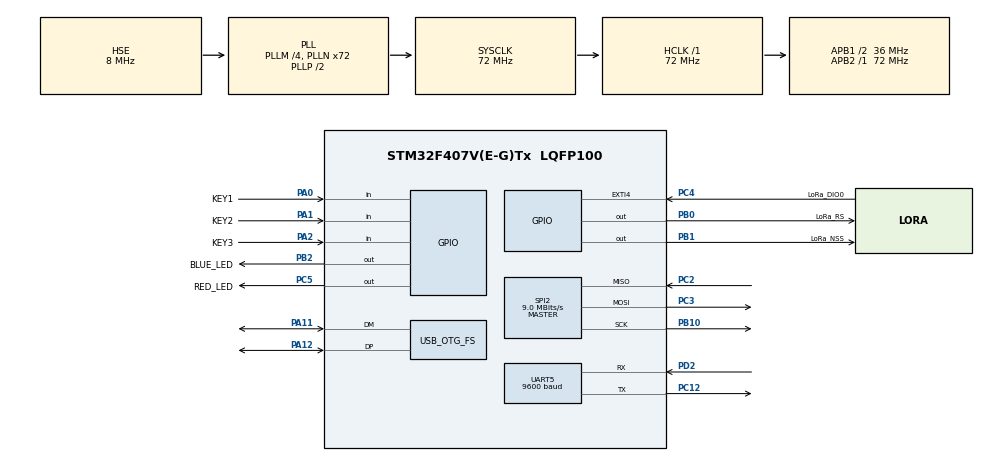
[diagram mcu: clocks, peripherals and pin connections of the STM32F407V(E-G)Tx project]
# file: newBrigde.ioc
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Mcu.Family=STM32F4
Mcu.Name=STM32F407V(E-G)Tx
Mcu.Package=LQFP100
NVIC.OTG_FS_IRQn=true\:0\:0\:false\:false\:true\:false\:true\:true
NVIC.PriorityGroup=NVIC_PRIORITYGROUP_4
PA0-WKUP.GPIO_Label=KEY1
PA0-WKUP.Signal=GPIO_Input
PA1.GPIO_Label=KEY2
PA1.Signal=GPIO_Input
PA11.Mode=Device_Only
PA11.Signal=USB_OTG_FS_DM
PA12.Mode=Device_Only
PA12.Signal=USB_OTG_FS_DP
PA2.GPIO_Label=KEY3
PA2.Signal=GPIO_Input
PB0.GPIO_Label=LoRa_RS
PB0.PinState=GPIO_PIN_SET
PB0.Signal=GPIO_Output
PB1.GPIO_Label=LoRa_NSS
PB1.PinState=GPIO_PIN_SET
PB1.Signal=GPIO_Output
PB10.GPIO_Speed=GPIO_SPEED_FREQ_HIGH
PB10.Mode=Full_Duplex_Master
PB10.Signal=SPI2_SCK
PB2.GPIO_Label=BLUE_LED
PB2.Signal=GPIO_Output
PC12.Mode=Asynchronous
PC12.Signal=UART5_TX
PC2.GPIO_Speed=GPIO_SPEED_FREQ_HIGH
PC2.Mode=Full_Duplex_Master
PC2.Signal=SPI2_MISO
PC3.GPIO_Speed=GPIO_SPEED_FREQ_HIGH
PC3.Mode=Full_Duplex_Master
PC3.Signal=SPI2_MOSI
PC4.GPIO_Label=LoRa_DIO0
PC4.Signal=GPXTI4
PC5.GPIO_Label=RED_LED
PC5.Signal=GPIO_Output
PD2.Mode=Asynchronous
PD2.Signal=UART5_RX
PH0-OSC_IN.Mode=HSE-External-Oscillator
PH0-OSC_IN.Signal=RCC_OSC_IN
PH1-OSC_OUT.Mode=HSE-External-Oscillator
PH1-OSC_OUT.Signal=RCC_OSC_OUT
ProjectManager.HeapSize=0x600
ProjectManager.StackSize=0x400
ProjectManager.TargetToolchain=STM32CubeIDE
RCC.48MHZClocksFreq_Value=48000000
RCC.AHBFreq_Value=72000000
RCC.APB1CLKDivider=RCC_HCLK_DIV2
RCC.APB1Freq_Value=36000000
RCC.APB1TimFreq_Value=72000000
RCC.APB2Freq_Value=72000000
RCC.APB2TimFreq_Value=72000000
RCC.CortexFreq_Value=72000000
RCC.HCLKFreq_Value=72000000
RCC.HSE_VALUE=8000000
RCC.HSI_VALUE=16000000
RCC.LSE_VALUE=32768
RCC.PLLM=4
RCC.PLLN=72
RCC.PLLQ=3
RCC.SYSCLKFreq_VALUE=72000000
RCC.SYSCLKSource=RCC_SYSCLKSOURCE_PLLCLK
RCC.VCOOutputFreq_Value=144000000
SPI2.BaudRatePrescaler=SPI_BAUDRATEPRESCALER_4
SPI2.CalculateBaudRate=9.0 MBits/s
SPI2.Direction=SPI_DIRECTION_2LINES
SPI2.Mode=SPI_MODE_MASTER
SPI2.VirtualType=VM_MASTER
UART5.BaudRate=9600
UART5.VirtualMode=Asynchronous
USB_DEVICE.CLASS_NAME_FS=CDC
USB_DEVICE.VirtualMode-CDC_FS=Cdc
USB_DEVICE.VirtualModeFS=Cdc_FS
USB_OTG_FS.VirtualMode=Device_Only
VP_USB_DEVICE_VS_USB_DEVICE_CDC_FS.Mode=CDC_FS
board=custom

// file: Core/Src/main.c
/* USER CODE BEGIN Header */
/**
  ******************************************************************************
  * @file           : main.c
  * @brief          : Main program body
  ******************************************************************************
  * @attention
  *
  * Copyright (c) 2024 STMicroelectronics.
  * All rights reserved.
  *
  * This software is licensed under terms that can be found in the LICENSE file
  * in the root directory of this software component.
  * If no LICENSE file comes with this software, it is provided AS-IS.
  *
  ******************************************************************************
  */
/* USER CODE END Header */
#include "main.h"
#include "usb_device.h"

/* USER CODE BEGIN Includes */
#include "usbd_cdc_if.h"
#include "LoRa.h"
#include <stdlib.h>
#include "cJSON.h"
#include "string.h"
#include <ctype.h>
/* USER CODE END Includes */

SPI_HandleTypeDef hspi2;

UART_HandleTypeDef huart5;

/* USER CODE BEGIN PV */
LoRa myLoRa;
uint8_t read_data_lora[128];
uint8_t read_data_bluetooth[128];
int		RSSI_lora;

uint8_t waitBuf[] = "Waiting for node ..... \r\n";
uint8_t resetBuf[] = "Reset hardware now .... \r\n";
/* USER CODE END PV */

void SystemClock_Config(void);
static void MX_GPIO_Init(void);
static void MX_UART5_Init(void);
static void MX_SPI2_Init(void);

int main(void)
{

  /* MCU Configuration--------------------------------------------------------*/

  /* Reset of all peripherals, Initializes the Flash interface and the Systick. */
  HAL_Init();

  /* Configure the system clock */
  SystemClock_Config();

  /* Initialize all configured peripherals */
  MX_GPIO_Init();
  MX_USB_DEVICE_Init();
  MX_UART5_Init();
  MX_SPI2_Init();
  /* USER CODE BEGIN 2 */
  // MODULE SETTINGS ----------------------------------------------
  	myLoRa = newLoRa();

  	myLoRa.hSPIx                 = &hspi2;
  	myLoRa.CS_port               = LoRa_NSS_GPIO_Port;
  	myLoRa.CS_pin                = LoRa_NSS_Pin;
  	myLoRa.reset_port            = LoRa_RS_GPIO_Port;
  	myLoRa.reset_pin             = LoRa_RS_Pin;
  	myLoRa.DIO0_port			 = LoRa_DIO0_GPIO_Port;
  	myLoRa.DIO0_pin				 = LoRa_DIO0_Pin;

  	myLoRa.frequency             = 433;		     			// default = 433 MHz
  	myLoRa.spredingFactor        = SF_7;					// default = SF_7
  	myLoRa.bandWidth			 = BW_125KHz;			    // default = BW_125KHz
  	myLoRa.crcRate				 = CR_4_5;					// default = CR_4_5
  	myLoRa.power			     = POWER_17db;				// default = 20db
  	myLoRa.overCurrentProtection = 120; 					// default = 100 mA
  	myLoRa.preamble				 = 10;		  				// default = 8;

  	LoRa_setSyncWord(&myLoRa, 0x23);
  	LoRa_reset(&myLoRa);
  	while(LoRa_init(&myLoRa) != LORA_OK){
  		HAL_GPIO_TogglePin(RED_LED_GPIO_Port, RED_LED_Pin);
  		CDC_Transmit_FS(waitBuf, sizeof(waitBuf));
  	}

  	// START CONTINUOUS RECEIVING -----------------------------------
  	LoRa_startReceiving(&myLoRa);

	//-----------------Initialize JSON------------------------------------
	cJSON_Hooks hooks = {mymalloc,free};
	cJSON_InitHooks(&hooks);
	//--------------------------------------------------------------------
	HAL_Delay(10000);

	uint32_t current = 0;

  /* USER CODE END 2 */

  /* Infinite loop */
  while (1)
  {

    /* USER CODE BEGIN 3 */
	  packet data;

	  CLEAR(read_data_bluetooth);
	  CLEAR(read_data_lora);

	  if(check == 0){
		  // LORA RECEIVING DATA - - - - - - - - - - - - - - - - - - - - - - - -
		  	  if(LoRa_receive(&myLoRa, read_data_lora, 128) > 0){
		  		  RSSI_lora = LoRa_getRSSI(&myLoRa);
		  		  parseJS((char*)read_data_lora, &data);
		  	  }

		  	  if(HAL_UART_Receive(&huart5, read_data_bluetooth, 20, 1000) == HAL_OK){
		  		  if (strlen((char*)read_data_bluetooth) > 0){
		  			  char *token = strtok((char*)read_data_bluetooth, ",");
		  			  if (token != NULL) data.nodeBluetooth.timeBLT = atoi(token);
		  			  token = strtok(NULL, ",");
		  			  if (token != NULL) data.nodeBluetooth.energyBLT = strtod(token, NULL);
		  			  token = strtok(NULL, ",");
		  			  if (token != NULL) data.nodeBluetooth.disData = atoi(token);
		  			  token = strtok(NULL, ",");
		  			  if (token != NULL) data.nodeBluetooth.RSSI_bluet = atoi(token);
		  		  }
		  		  if (!isdigit(data.nodeBluetooth.timeBLT)) CLEAR(data.nodeBluetooth);
		  	  }

		  	if (HAL_GetTick() - current >= 1000){
		  	  cJSON *root = cJSON_CreateObject(); /*create JSON string root*/
		  	  	  cJSON *rootNode = cJSON_CreateArray();
		  	  	  cJSON_AddItemToObject(root, "root", rootNode);
		  	  	  cJSON_AddItemToArray(rootNode, cJSON_CreateNumber(data.energyRoot));
		  	  	  cJSON_AddItemToArray(rootNode, cJSON_CreateNumber(data.timeRoot));
		  	  	  cJSON_AddItemToArray(rootNode, cJSON_CreateNumber(RSSI_lora));

		  	  	  cJSON *defaultNode = cJSON_CreateArray();
		  	  	  cJSON_AddItemToObject(root, "node2", defaultNode);
		  	  	  cJSON_AddItemToArray(defaultNode, cJSON_CreateNumber(data.node2.motor2));
		  	  	  cJSON_AddItemToArray(defaultNode, cJSON_CreateNumber(data.node2.obs2));
		  	  	  cJSON_AddItemToArray(defaultNode, cJSON_CreateNumber(data.node2.time2));
		  	  	  cJSON_AddItemToArray(defaultNode, cJSON_CreateNumber(data.node2.ack2));

		  	  	  cJSON *sendOnlyNode = cJSON_CreateArray();
		  	  	  cJSON_AddItemToObject(root, "node1", sendOnlyNode);
		  	  	  cJSON_AddItemToArray(sendOnlyNode, cJSON_CreateNumber(data.node1.temp1));
		  	  	  cJSON_AddItemToArray(sendOnlyNode, cJSON_CreateNumber(data.node1.hum1));
		  	  	  cJSON_AddItemToArray(sendOnlyNode, cJSON_CreateNumber(data.node1.time1));
		  	  	  cJSON_AddItemToArray(sendOnlyNode, cJSON_CreateNumber(data.node1.ack1));

		  	  	  cJSON *bluetoothNode = cJSON_CreateArray();
		  	  	  cJSON_AddItemToObject(root, "bltN", bluetoothNode);
		  	  	  cJSON_AddItemToArray(bluetoothNode,cJSON_CreateNumber(data.nodeBluetooth.energyBLT));
		  	      cJSON_AddItemToArray(bluetoothNode,cJSON_CreateNumber(data.nodeBluetooth.timeBLT));
		  	      cJSON_AddItemToArray(bluetoothNode,cJSON_CreateNumber(data.nodeBluetooth.disData));
		  	      cJSON_AddItemToArray(bluetoothNode,cJSON_CreateNumber(data.nodeBluetooth.RSSI_bluet));

			  char *ret = cJSON_PrintUnformatted(root);
			  strcat(ret, "\r\n");
			  uint8_t result = CDC_Transmit_FS((uint8_t*)ret, strlen(ret));

			  if(result == USBD_OK) HAL_GPIO_TogglePin(BLUE_LED_GPIO_Port, BLUE_LED_Pin);
			  cJSON_Delete(root);
			  free(ret);

			  current = HAL_GetTick();
		  }
	  } else if (check == 1) {
		    LoRa_transmit(&myLoRa, (uint8_t*)ReceivedData, dataSize, 100);
//		  	HAL_UART_Transmit(&huart5, (uint8_t*)ReceivedData, dataSize, 100);
		  	HAL_GPIO_TogglePin(RED_LED_GPIO_Port, RED_LED_Pin);

		  	for(int i = 0; i < dataSize; i++)
			{
				ReceivedData[i] = 0;
			}
			check = 0;
	  }

	  HAL_Delay(200);
  }
  /* USER CODE END 3 */
}

void SystemClock_Config(void)
{
  RCC_OscInitTypeDef RCC_OscInitStruct = {0};
  RCC_ClkInitTypeDef RCC_ClkInitStruct = {0};

  /** Configure the main internal regulator output voltage
  */
  __HAL_RCC_PWR_CLK_ENABLE();
  __HAL_PWR_VOLTAGESCALING_CONFIG(PWR_REGULATOR_VOLTAGE_SCALE1);

  /** Initializes the RCC Oscillators according to the specified parameters
  * in the RCC_OscInitTypeDef structure.
  */
  RCC_OscInitStruct.OscillatorType = RCC_OSCILLATORTYPE_HSE;
  RCC_OscInitStruct.HSEState = RCC_HSE_ON;
  RCC_OscInitStruct.PLL.PLLState = RCC_PLL_ON;
  RCC_OscInitStruct.PLL.PLLSource = RCC_PLLSOURCE_HSE;
  RCC_OscInitStruct.PLL.PLLM = 4;
  RCC_OscInitStruct.PLL.PLLN = 72;
  RCC_OscInitStruct.PLL.PLLP = RCC_PLLP_DIV2;
  RCC_OscInitStruct.PLL.PLLQ = 3;
  if (HAL_RCC_OscConfig(&RCC_OscInitStruct) != HAL_OK)
  {
    Error_Handler();
  }

  /** Initializes the CPU, AHB and APB buses clocks
  */
  RCC_ClkInitStruct.ClockType = RCC_CLOCKTYPE_HCLK|RCC_CLOCKTYPE_SYSCLK
                              |RCC_CLOCKTYPE_PCLK1|RCC_CLOCKTYPE_PCLK2;
  RCC_ClkInitStruct.SYSCLKSource = RCC_SYSCLKSOURCE_PLLCLK;
  RCC_ClkInitStruct.AHBCLKDivider = RCC_SYSCLK_DIV1;
  RCC_ClkInitStruct.APB1CLKDivider = RCC_HCLK_DIV2;
  RCC_ClkInitStruct.APB2CLKDivider = RCC_HCLK_DIV1;

  if (HAL_RCC_ClockConfig(&RCC_ClkInitStruct, FLASH_LATENCY_2) != HAL_OK)
  {
    Error_Handler();
  }
}

static void MX_SPI2_Init(void)
{

  /* SPI2 parameter configuration*/
  hspi2.Instance = SPI2;
  hspi2.Init.Mode = SPI_MODE_MASTER;
  hspi2.Init.Direction = SPI_DIRECTION_2LINES;
  hspi2.Init.DataSize = SPI_DATASIZE_8BIT;
  hspi2.Init.CLKPolarity = SPI_POLARITY_LOW;
  hspi2.Init.CLKPhase = SPI_PHASE_1EDGE;
  hspi2.Init.NSS = SPI_NSS_SOFT;
  hspi2.Init.BaudRatePrescaler = SPI_BAUDRATEPRESCALER_4;
  hspi2.Init.FirstBit = SPI_FIRSTBIT_MSB;
  hspi2.Init.TIMode = SPI_TIMODE_DISABLE;
  hspi2.Init.CRCCalculation = SPI_CRCCALCULATION_DISABLE;
  hspi2.Init.CRCPolynomial = 10;
  if (HAL_SPI_Init(&hspi2) != HAL_OK)
  {
    Error_Handler();
  }

}

static void MX_UART5_Init(void)
{

  huart5.Instance = UART5;
  huart5.Init.BaudRate = 9600;
  huart5.Init.WordLength = UART_WORDLENGTH_8B;
  huart5.Init.StopBits = UART_STOPBITS_1;
  huart5.Init.Parity = UART_PARITY_NONE;
  huart5.Init.Mode = UART_MODE_TX_RX;
  huart5.Init.HwFlowCtl = UART_HWCONTROL_NONE;
  huart5.Init.OverSampling = UART_OVERSAMPLING_16;
  if (HAL_UART_Init(&huart5) != HAL_OK)
  {
    Error_Handler();
  }

}

static void MX_GPIO_Init(void)
{
  GPIO_InitTypeDef GPIO_InitStruct = {0};

  /* GPIO Ports Clock Enable */
  __HAL_RCC_GPIOH_CLK_ENABLE();
  __HAL_RCC_GPIOC_CLK_ENABLE();
  __HAL_RCC_GPIOA_CLK_ENABLE();
  __HAL_RCC_GPIOB_CLK_ENABLE();
  __HAL_RCC_GPIOD_CLK_ENABLE();

  /*Configure GPIO pin Output Level */
  HAL_GPIO_WritePin(RED_LED_GPIO_Port, RED_LED_Pin, GPIO_PIN_RESET);

  /*Configure GPIO pin Output Level */
  HAL_GPIO_WritePin(GPIOB, LoRa_RS_Pin|LoRa_NSS_Pin, GPIO_PIN_SET);

  /*Configure GPIO pin Output Level */
  HAL_GPIO_WritePin(BLUE_LED_GPIO_Port, BLUE_LED_Pin, GPIO_PIN_RESET);

  /*Configure GPIO pins : KEY1_Pin KEY2_Pin KEY3_Pin */
  GPIO_InitStruct.Pin = KEY1_Pin|KEY2_Pin|KEY3_Pin;
  GPIO_InitStruct.Mode = GPIO_MODE_INPUT;
  GPIO_InitStruct.Pull = GPIO_NOPULL;
  HAL_GPIO_Init(GPIOA, &GPIO_InitStruct);

  /*Configure GPIO pin : LoRa_DIO0_Pin */
  GPIO_InitStruct.Pin = LoRa_DIO0_Pin;
  GPIO_InitStruct.Mode = GPIO_MODE_IT_RISING;
  GPIO_InitStruct.Pull = GPIO_NOPULL;
  HAL_GPIO_Init(LoRa_DIO0_GPIO_Port, &GPIO_InitStruct);

  /*Configure GPIO pin : RED_LED_Pin */
  GPIO_InitStruct.Pin = RED_LED_Pin;
  GPIO_InitStruct.Mode = GPIO_MODE_OUTPUT_PP;
  GPIO_InitStruct.Pull = GPIO_NOPULL;
  GPIO_InitStruct.Speed = GPIO_SPEED_FREQ_LOW;
  HAL_GPIO_Init(RED_LED_GPIO_Port, &GPIO_InitStruct);

  /*Configure GPIO pins : LoRa_RS_Pin LoRa_NSS_Pin BLUE_LED_Pin */
  GPIO_InitStruct.Pin = LoRa_RS_Pin|LoRa_NSS_Pin|BLUE_LED_Pin;
  GPIO_InitStruct.Mode = GPIO_MODE_OUTPUT_PP;
  GPIO_InitStruct.Pull = GPIO_NOPULL;
  GPIO_InitStruct.Speed = GPIO_SPEED_FREQ_LOW;
  HAL_GPIO_Init(GPIOB, &GPIO_InitStruct);

}

/* USER CODE BEGIN 4 */

void parseJS(char *jsonString, packet *data)
{
	cJSON *root = cJSON_Parse(jsonString);

	cJSON *name = cJSON_GetObjectItem(root,"name");

	if(!name) return;

	//get data RootNode
	cJSON *rootData = cJSON_GetObjectItem(root, "root");
	if(rootData->type == cJSON_Array){
		uint8_t i,size = cJSON_GetArraySize(rootData);
		for(i=0;i<size;i++){
			cJSON *dat = cJSON_GetArrayItem(rootData,i);
			switch(i){
			default: break;
			case 0:
				data->timeRoot = dat->valueint;
				break;
			case 1:
				data->energyRoot = dat->valuedouble;
				break;
			}
		}
	}

	//get data node1
	cJSON *node1 = cJSON_GetObjectItem(root, "node1");
	if(node1->type == cJSON_Array){
		uint8_t i,size = cJSON_GetArraySize(node1);
		for(i=0;i<size;i++){
			cJSON *dat = cJSON_GetArrayItem(node1,i);
			switch(i){
			default: break;
			case 0:
				data->node1.hum1 = dat->valuedouble;
				break;
			case 1:
				data->node1.temp1 = dat->valuedouble;
				break;
			case 2:
				data->node1.time1 = dat->valueint;
				break;
			case 3:
				data->node1.ack1 = dat->valueint;
				break;
			}
		}
	}

	//get data node2
	cJSON *node2 = cJSON_GetObjectItem(root, "node2");
	if(node2->type == cJSON_Array){
		uint8_t i,size = cJSON_GetArraySize(node2);
		for(i=0;i<size;i++){
			cJSON *dat = cJSON_GetArrayItem(node2,i);
			switch (i){
				default: break;
				case 0:
					data->node2.motor2 = dat->valueint;
					break;
				case 3:
					data->node2.ack2 = dat->valueint;
					break;
				case 2:
					data->node2.time2 = dat->valueint;
					break;
				case 1:
					data->node2.obs2 = dat->valueint;
			}
		}
	}

	if(!root) cJSON_Delete(root);
}

void *mymalloc(unsigned int size)
{
	return malloc(size);
}
/* USER CODE END 4 */

void Error_Handler(void)
{
  __disable_irq();
  while (1)
  {
  }
}
